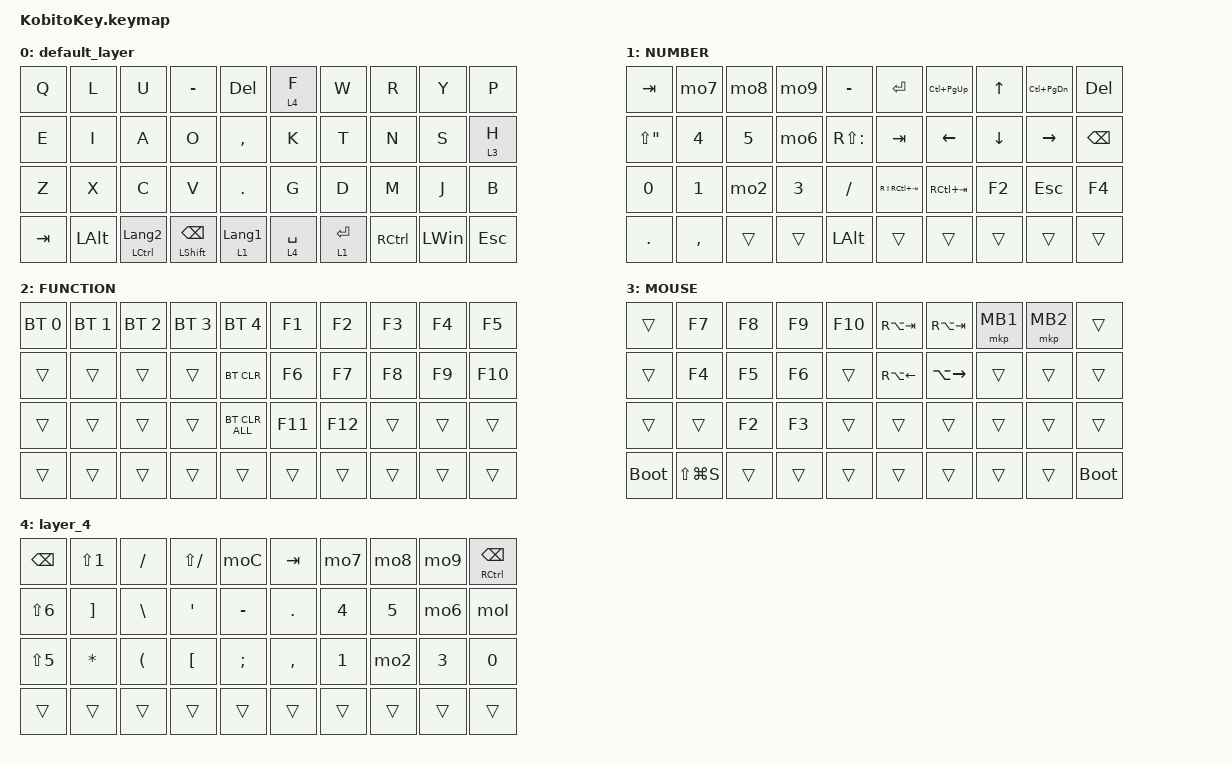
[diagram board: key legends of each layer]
#include <input/processors.dtsi>
#include <behaviors.dtsi>
#include <dt-bindings/zmk/bt.h>
#include <dt-bindings/zmk/keys.h>
#include <dt-bindings/zmk/pointing.h>

#define NUM 6
#define ZMK_POINTING_DEFAULT_SCRL_VAL 80
#define JP_DQUOTE       AT                // "
#define JP_AMPERSAND    CARET             // &
#define JP_QUOTE        AMPERSAND         // '
#define JP_EQUAL        UNDER             // =
#define JP_CARET        EQUAL             // ^
#define JP_YEN          0x89              // ¥
#define JP_PLUS         COLON             // +
#define JP_TILDE        PLUS              // ~
#define JP_PIPE         LS(0x89)          // |
#define JP_AT           LEFT_BRACKET      // @
#define JP_COLON        SINGLE_QUOTE      // :
#define JP_ASTERISK     DOUBLE_QUOTES     // *
#define JP_BACKQUOTE    LEFT_BRACE        // `
#define JP_UNDERSCORE   LS(0x87)          // _
#define JP_LBRACKET     RIGHT_BRACKET     // [
#define JP_RBRACKET     BACKSLASH         // ]
#define JP_LPAREN       ASTERISK          // (
#define JP_RPAREN       LEFT_PARENTHESIS  // )
#define JP_LBRACE       RIGHT_BRACE       // {
#define JP_RBRACE       PIPE              // }
#define JP_KANA         LANGUAGE_1        // かな
#define JP_EISU         LANGUAGE_2        // 英数
#define JP_HANZEN       GRAVE             // 半角/全角
#define JP_BSLH  INT1         // (backslash)

&mt {
    flavor = "balanced";
    quick-tap-ms = <0>;
};

/ {
    combos {
        compatible = "zmk,combos";

        combo_grave {
            timeout-ms = <50>;
            key-positions = <1 2>;
            bindings = <&kp GRAVE>;
        };

        combo_tab {
            bindings = <&kp TAB>;
            key-positions = <10 11>;
        };
    };

    mo2: mo2 {
        compatible = "zmk,behavior-mod-morph";
        #binding-cells = <0>;
        bindings = <&kp N2>, <&kp AT>;

        mods = <(MOD_LSFT|MOD_RSFT)>;
    };

    mo6: mo6 {
        compatible = "zmk,behavior-mod-morph";
        #binding-cells = <0>;
        bindings = <&kp N6>, <&kp CARET>;

        mods = <(MOD_LSFT|MOD_RSFT)>;
    };

    mo7: mo7 {
        compatible = "zmk,behavior-mod-morph";
        #binding-cells = <0>;
        bindings = <&kp N7>, <&kp AMPS>;

        mods = <(MOD_LSFT|MOD_RSFT)>;
    };

    mo8: mo8 {
        compatible = "zmk,behavior-mod-morph";
        #binding-cells = <0>;
        bindings = <&kp N8>, <&kp ASTRK>;

        mods = <(MOD_LSFT|MOD_RSFT)>;
    };

    mo9: mo9 {
        compatible = "zmk,behavior-mod-morph";
        #binding-cells = <0>;
        bindings = <&kp N9>, <&kp LPAR>;

        mods = <(MOD_LSFT|MOD_RSFT)>;
    };

    mo0: mo0 {
        compatible = "zmk,behavior-mod-morph";
        #binding-cells = <0>;
        bindings = <&kp N0>, <&kp LS(N9)>;

        mods = <(MOD_LSFT|MOD_RSFT)>;
    };

    moA: moA {
        compatible = "zmk,behavior-mod-morph";
        #binding-cells = <0>;
        bindings = <&kp MINUS>, <&kp UNDERSCORE>;

        mods = <(MOD_LSFT|MOD_RSFT)>;
    };

    moB: moB {
        compatible = "zmk,behavior-mod-morph";
        #binding-cells = <0>;
        bindings = <&kp EQUAL>, <&kp PLUS>;

        mods = <(MOD_LSFT|MOD_RSFT)>;
    };

    moC: moC {
        compatible = "zmk,behavior-mod-morph";
        #binding-cells = <0>;
        bindings = <&kp INT3>, <&kp JP_PIPE>;

        mods = <(MOD_LSFT|MOD_RSFT)>;
        keep-mods = <(MOD_LSFT|MOD_RSFT)>;
    };

    moD: moD {
        compatible = "zmk,behavior-mod-morph";
        #binding-cells = <0>;
        bindings = <&kp LBKT>, <&kp LBRC>;

        mods = <(MOD_LSFT|MOD_RSFT)>;
    };

    moE: moE {
        compatible = "zmk,behavior-mod-morph";
        #binding-cells = <0>;
        bindings = <&kp RBKT>, <&kp RBRC>;

        mods = <(MOD_LSFT|MOD_RSFT)>;
    };

    moF: moF {
        compatible = "zmk,behavior-mod-morph";
        #binding-cells = <0>;
        bindings = <&kp SEMI>, <&kp KP_PLUS>;

        mods = <(MOD_LSFT|MOD_RSFT)>;
    };

    moG: moG {
        compatible = "zmk,behavior-mod-morph";
        #binding-cells = <0>;
        bindings = <&kp APOSTROPHE>, <&kp DQT>;

        mods = <(MOD_LSFT|MOD_RSFT)>;
    };

    moH: moH {
        compatible = "zmk,behavior-mod-morph";
        #binding-cells = <0>;
        bindings = <&kp BACKSLASH>, <&kp TILDE2>;

        mods = <(MOD_LSFT|MOD_RSFT)>;
    };

    moI: moI {
        compatible = "zmk,behavior-mod-morph";
        #binding-cells = <0>;
        bindings = <&kp JP_BSLH>, <&kp JP_UNDERSCORE>;

        mods = <(MOD_LSFT|MOD_RSFT)>;
        keep-mods = <(MOD_LSFT|MOD_RSFT)>;
    };

    behaviors {
    };

    keymap {
        compatible = "zmk,keymap";

        default_layer {
            bindings = <
&kp Q    &kp L     &kp U                 &kp MINUS            &kp DEL           &lt 4 F      &kp W        &kp R              &kp Y         &kp P
&kp E    &kp I     &kp A                 &kp O                &kp COMMA         &kp K        &kp T        &kp N              &kp S         &lt 3 H
&kp Z    &kp X     &kp C                 &kp V                &kp PERIOD        &kp G        &kp D        &kp M              &kp J         &kp B
&kp TAB  &kp LALT  &mt LCTRL LANGUAGE_2  &mt LSHFT BACKSPACE  &lt 1 LANGUAGE_1  &lt 4 SPACE  &lt 1 ENTER  &kp RIGHT_CONTROL  &kp LEFT_WIN  &kp ESCAPE
            >;
        };

        layer1 {
            label = "NUMBER";
            bindings = <
&kp TAB                &mo7          &mo8    &mo9          &kp MINUS      &kp ENTER        &kp LC(PG_UP)  &kp UP    &kp LC(PAGE_DOWN)  &kp DELETE
&kp LS(DOUBLE_QUOTES)  &kp N4        &kp N5  &mo6          &kp RS(COLON)  &kp TAB          &kp LEFT       &kp DOWN  &kp RIGHT          &kp BACKSPACE
&kp N0                 &kp NUMBER_1  &mo2    &kp NUMBER_3  &kp SLASH      &kp RS(RC(TAB))  &kp RC(TAB)    &kp F2    &kp ESCAPE         &kp F4
&kp PERIOD             &kp COMMA     &trans  &trans        &kp LEFT_ALT   &trans           &trans         &trans    &trans             &trans
            >;
        };

        layer2 {
            label = "FUNCTION";
            bindings = <
&bt BT_SEL 0  &bt BT_SEL 1  &bt BT_SEL 2  &bt BT_SEL 3  &bt BT_SEL 4    &kp F1   &kp F2   &kp F3  &kp F4  &kp F5
&trans        &trans        &trans        &trans        &bt BT_CLR      &kp F6   &kp F7   &kp F8  &kp F9  &kp F10
&trans        &trans        &trans        &trans        &bt BT_CLR_ALL  &kp F11  &kp F12  &trans  &trans  &trans
&trans        &trans        &trans        &trans        &trans          &trans   &trans   &trans  &trans  &trans
            >;
        };

        layer3 {
            label = "MOUSE";
            bindings = <
&trans       &kp F7         &kp F8  &kp F9  &kp F10  &kp RA(TAB)         &kp RA(TAB)          &mkp MB1  &mkp MB2  &trans
&trans       &kp F4         &kp F5  &kp F6  &trans   &kp RA(LEFT_ARROW)  &kp LA(RIGHT_ARROW)  &trans    &trans    &trans
&trans       &trans         &kp F2  &kp F3  &trans   &trans              &trans               &trans    &trans    &trans
&bootloader  &kp LS(LG(S))  &trans  &trans  &trans   &trans              &trans               &trans    &trans    &bootloader
            >;
        };

        layer_4 {
            bindings = <
&kp BACKSPACE     &kp LS(NUMBER_1)   &kp SLASH             &kp LS(SLASH)     &moC           &kp TAB     &mo7          &mo8    &mo9          &mt RIGHT_CONTROL BACKSPACE
&kp LS(NUMBER_6)  &kp RIGHT_BRACKET  &kp BACKSLASH         &kp SINGLE_QUOTE  &kp MINUS      &kp PERIOD  &kp NUMBER_4  &kp N5  &mo6          &moI
&kp LS(N5)        &kp ASTRK          &kp LEFT_PARENTHESIS  &kp LEFT_BRACKET  &kp SEMICOLON  &kp COMMA   &kp NUMBER_1  &mo2    &kp NUMBER_3  &kp N0
&trans            &trans             &trans                &trans            &trans         &trans      &trans        &trans  &trans        &trans
            >;
        };
    };
};
